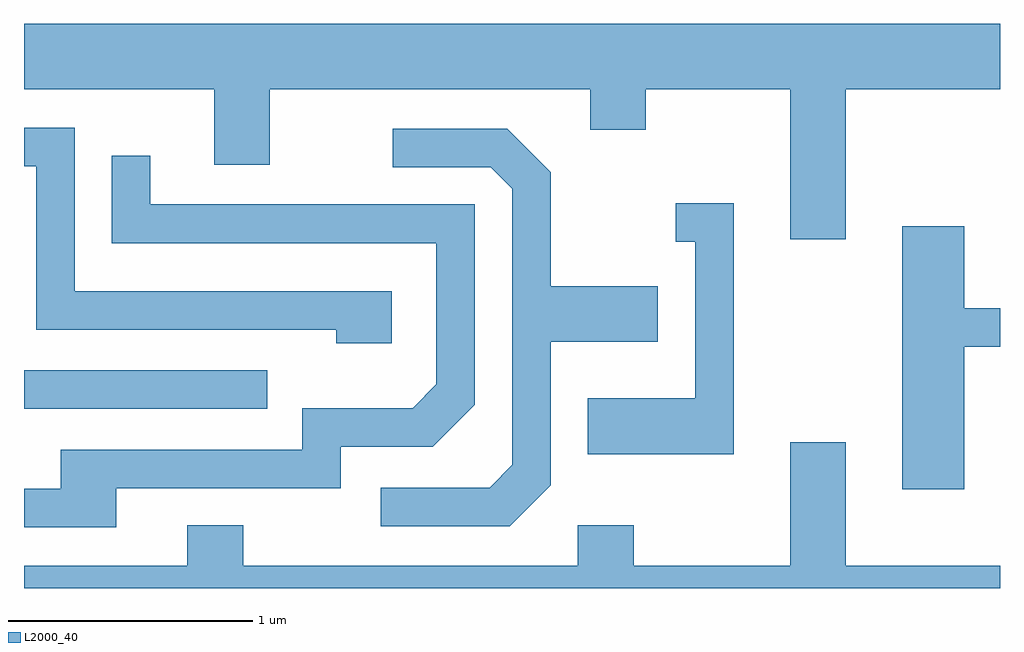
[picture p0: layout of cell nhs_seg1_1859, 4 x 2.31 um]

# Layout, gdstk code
import gdstk
lib = gdstk.Library(unit=1e-6, precision=1e-09)
def R(c, l, rs):  # rectangles x0, y0, x1, y1
    for r in rs: c.add(gdstk.rectangle(r[:2], r[2:], *l))
def P(c, l, *ps):  # polygons
    for p in ps: c.add(gdstk.Polygon(p, *l))
L2000_40 = (2000, 40)

nhs_seg1_1859 = lib.new_cell('nhs_seg1_1859')
R(nhs_seg1_1859, L2000_40, [(241.611,940.446,242.608,940.604)])
P(nhs_seg1_1859, L2000_40, [(244.979,941.756),(245.611,941.756),(245.611,942.024),(241.611,942.024),(241.611,941.756),(242.391,941.756),(242.391,941.446),(242.619,941.446),(242.619,941.756),(243.931,941.756),(243.931,941.591),(244.159,941.591),(244.159,941.756),(244.751,941.756),(244.751,941.141),(244.979,941.141)],
  [(243.119,940.929),(241.819,940.929),(241.819,941.599),(241.611,941.599),(241.611,941.441),(241.661,941.441),(241.661,940.771),(242.891,940.771),(242.891,940.716),(243.119,940.716)],
  [(243.769,940.134),(243.769,940.721),(244.209,940.721),(244.209,940.949),(243.769,940.949),(243.769,941.417),(243.592,941.594),(243.123,941.594),(243.123,941.436),(243.524,941.436),(243.611,941.349),(243.611,940.217),(243.519,940.124),(243.073,940.124),(243.073,939.966),(243.602,939.966)],
  [(241.989,940.121),(242.909,940.121),(242.909,940.291),(243.287,940.291),(243.459,940.464),(243.459,941.284),(242.129,941.284),(242.129,941.483),(241.971,941.483),(241.971,941.126),(243.301,941.126),(243.301,940.547),(243.204,940.449),(242.751,940.449),(242.751,940.279),(241.761,940.279),(241.761,940.119),(241.611,940.119),(241.611,939.961),(241.989,939.961)],
  [(244.519,941.289),(244.283,941.289),(244.283,941.131),(244.361,941.131),(244.361,940.489),(243.921,940.489),(243.921,940.261),(244.519,940.261)],
  [(245.464,940.701),(245.611,940.701),(245.611,940.859),(245.464,940.859),(245.464,941.194),(245.211,941.194),(245.211,940.116),(245.464,940.116)],
  [(245.611,939.804),(244.979,939.804),(244.979,940.309),(244.751,940.309),(244.751,939.804),(244.109,939.804),(244.109,939.969),(243.881,939.969),(243.881,939.804),(242.509,939.804),(242.509,939.969),(242.281,939.969),(242.281,939.804),(241.611,939.804),(241.611,939.712),(245.611,939.712)])

lib.write_gds('nhs_seg1_1859.gds')
